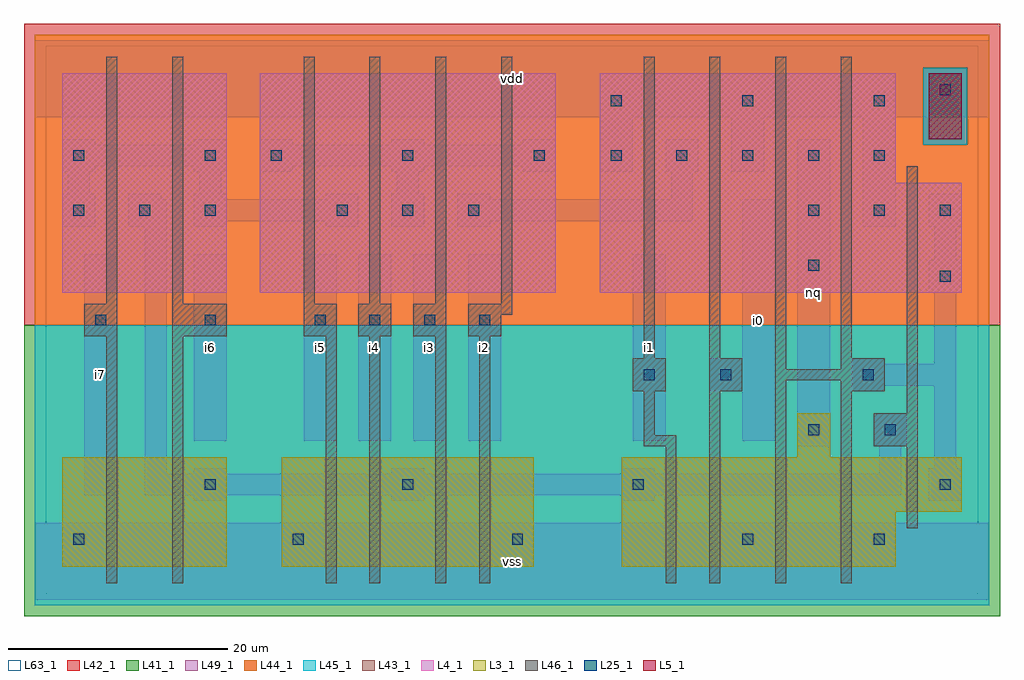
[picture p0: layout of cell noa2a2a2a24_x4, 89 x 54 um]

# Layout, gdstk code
import gdstk
lib = gdstk.Library(unit=1e-6, precision=1e-09)
def R(c, l, rs):  # rectangles x0, y0, x1, y1
    for r in rs: c.add(gdstk.rectangle(r[:2], r[2:], *l))
def A(c, l, x, y, w, h, nx, ny, dx, dy):  # array of equal rectangles
    R(c, l, [(x+i*dx, y+j*dy, x+i*dx+w, y+j*dy+h) for i in range(nx) for j in range(ny)])
L3_1 = (3, 1)
L4_1 = (4, 1)
L5_1 = (5, 1)
L25_1 = (25, 1)
L41_1 = (41, 1)
L42_1 = (42, 1)
L43_1 = (43, 1)
L44_1 = (44, 1)
L45_1 = (45, 1)
L46_1 = (46, 1)
L49_1 = (49, 1)
L63_1 = (63, 1)

noa2a2a2a24_x4 = lib.new_cell('noa2a2a2a24_x4')
R(noa2a2a2a24_x4, L3_1, [(1.5,2.5,16.5,12.5), (21.5,2.5,44.5,12.5), (52.5,2.5,77.5,7.5), (52.5,7.5,83.5,12.5), (68.5,12.5,71.5,16.5)])
R(noa2a2a2a24_x4, L4_1, [(1.5,27.5,16.5,47.5), (19.5,27.5,46.5,47.5), (50.5,27.5,83.5,37.5), (50.5,37.5,77.5,47.5)])
R(noa2a2a2a24_x4, L5_1, [(80.5,41.5,83.5,47.5)])
A(noa2a2a2a24_x4, L25_1, 2.5, 4.5, 1, 1, 3, 1, 20, 0)
A(noa2a2a2a24_x4, L25_1, 4.5, 24.5, 1, 1, 3, 1, 10, 0)
A(noa2a2a2a24_x4, L25_1, 29.5, 24.5, 1, 1, 3, 1, 5, 0)
A(noa2a2a2a24_x4, L25_1, 2.5, 34.5, 1, 1, 3, 1, 6, 0)
A(noa2a2a2a24_x4, L25_1, 26.5, 34.5, 1, 1, 3, 1, 6, 0)
A(noa2a2a2a24_x4, L25_1, 69.5, 34.5, 1, 1, 3, 1, 6, 0)
A(noa2a2a2a24_x4, L25_1, 20.5, 39.5, 1, 1, 3, 1, 12, 0)
A(noa2a2a2a24_x4, L25_1, 51.5, 39.5, 1, 1, 5, 1, 6, 0)
A(noa2a2a2a24_x4, L25_1, 51.5, 44.5, 1, 1, 3, 1, 12, 0)
R(noa2a2a2a24_x4, L25_1, [(63.5,4.5,64.5,5.5), (75.5,4.5,76.5,5.5), (14.5,9.5,15.5,10.5), (32.5,9.5,33.5,10.5), (53.5,9.5,54.5,10.5), (81.5,9.5,82.5,10.5), (69.5,14.5,70.5,15.5), (76.5,14.5,77.5,15.5), (54.5,19.5,55.5,20.5), (61.5,19.5,62.5,20.5), (74.5,19.5,75.5,20.5), (81.5,28.5,82.5,29.5), (69.5,29.5,70.5,30.5), (2.5,39.5,3.5,40.5), (14.5,39.5,15.5,40.5), (81.5,45.5,82.5,46.5)])
R(noa2a2a2a24_x4, L41_1, [(-2,-2,87,24.5)])
R(noa2a2a2a24_x4, L42_1, [(-2,24.5,87,52)])
R(noa2a2a2a24_x4, L43_1, [(1.5,2.5,16.5,12.5), (21.5,2.5,44.5,12.5), (52.5,2.5,77.5,7.5), (52.5,7.5,83.5,12.5), (68.5,12.5,71.5,16.5), (1.5,27.5,16.5,47.5), (19.5,27.5,46.5,47.5), (50.5,27.5,83.5,37.5), (50.5,37.5,77.5,47.5), (80.5,41.5,83.5,47.5)])
R(noa2a2a2a24_x4, L44_1, [(-1,24.5,86,41), (-1,41,80,48), (84,41,86,48), (-1,48,86,51)])
R(noa2a2a2a24_x4, L45_1, [(-1,-1,86,24.5), (80,41,84,48)])
A(noa2a2a2a24_x4, L46_1, 23.5, 23.5, 3, 3, 3, 1, 5, 0)
A(noa2a2a2a24_x4, L46_1, 23.5, 26.5, 1, 22.5, 4, 1, 6, 0)
R(noa2a2a2a24_x4, L46_1, [(5.5,1,6.5,23.5), (11.5,1,12.5,23.5), (25.5,1,26.5,23.5), (29.5,1,30.5,23.5), (35.5,1,36.5,23.5), (39.5,1,40.5,23.5), (56.5,1,57.5,13.5), (60.5,1,61.5,18.5), (66.5,1,67.5,19.5), (72.5,1,73.5,18.5), (78.5,6,79.5,13.5), (54.5,13.5,57.5,14.5), (75.5,13.5,79.5,16.5), (54.5,14.5,55.5,18.5), (78.5,16.5,79.5,39), (53.5,18.5,56.5,21.5), (60.5,18.5,63.5,21.5), (72.5,18.5,76.5,19.5), (66.5,19.5,76.5,20.5), (66.5,20.5,67.5,49), (72.5,20.5,76.5,21.5), (54.5,21.5,55.5,49), (60.5,21.5,61.5,49), (72.5,21.5,73.5,49), (3.5,23.5,6.5,26.5), (11.5,23.5,16.5,26.5), (38.5,23.5,41.5,25.5), (38.5,25.5,42.5,26.5), (5.5,26.5,6.5,49), (11.5,26.5,12.5,49)])
A(noa2a2a2a24_x4, L49_1, 23.5, 14, 3, 17, 4, 1, 5, 0)
A(noa2a2a2a24_x4, L49_1, 13.5, 33.5, 3, 0.5, 3, 2, 12, 2.5)
A(noa2a2a2a24_x4, L49_1, 19.5, 38.5, 3, 0.5, 3, 2, 12, 2.5)
R(noa2a2a2a24_x4, L49_1, [(-1,-0.5,86,6.5), (13.5,8.5,16.5,9), (31.5,8.5,34.5,9), (52.5,8.5,55.5,9), (80.5,8.5,83.5,11.5), (3.5,9,6.5,31), (9,9,78,11), (9,11,11,33.5), (13.5,11,16.5,11.5), (31.5,11,34.5,11.5), (52.5,11,55.5,11.5), (76,11,78,13.5), (81,11.5,83,19), (68.5,13.5,71.5,41.5), (75.5,13.5,78.5,16.5), (13.5,14,16.5,31), (53.5,14,56.5,31), (63.5,14,66.5,18.5), (60.5,18.5,66.5,21.5), (73.5,18.5,76.5,19), (73.5,19,83,21), (73.5,21,76.5,21.5), (81,21,83,27.5), (63.5,21.5,66.5,36), (80.5,27.5,83.5,30.5), (81,30.5,83,33.5), (1.5,33.5,4.5,36.5), (7.5,33.5,11,36), (31.5,33.5,34.5,36.5), (74.5,33.5,77.5,43.5), (80.5,33.5,83.5,36.5), (13.5,34,28.5,36), (37.5,34,59,36), (7.5,36,10.5,36.5), (57,36,59,38.5), (2,36.5,4,38.5), (14,36.5,16,38.5), (32,36.5,34,38.5), (1.5,38.5,4.5,39), (13.5,38.5,16.5,39), (50.5,38.5,53.5,43.5), (56.5,38.5,59.5,41.5), (62.5,38.5,65.5,43.5), (1.5,39,16.5,41), (19.5,39,46.5,41), (1.5,41,4.5,41.5), (13.5,41,16.5,41.5), (-1,43.5,86,50.5)])
R(noa2a2a2a24_x4, L63_1, [(0,0,85,50)])
noa2a2a2a24_x4.add(gdstk.Label('i7', (5,20), layer=49, texttype=1))
noa2a2a2a24_x4.add(gdstk.Label('i7', (5,20), layer=49, texttype=1))
noa2a2a2a24_x4.add(gdstk.Label('i6', (15,22.5), layer=49, texttype=1))
noa2a2a2a24_x4.add(gdstk.Label('i6', (15,22.5), layer=49, texttype=1))
noa2a2a2a24_x4.add(gdstk.Label('i4', (30,22.5), layer=49, texttype=1))
noa2a2a2a24_x4.add(gdstk.Label('i5', (25,22.5), layer=49, texttype=1))
noa2a2a2a24_x4.add(gdstk.Label('i4', (30,22.5), layer=49, texttype=1))
noa2a2a2a24_x4.add(gdstk.Label('i5', (25,22.5), layer=49, texttype=1))
noa2a2a2a24_x4.add(gdstk.Label('vss', (42.5,3), layer=49, texttype=1))
noa2a2a2a24_x4.add(gdstk.Label('vss', (42.5,3), layer=49, texttype=1))
noa2a2a2a24_x4.add(gdstk.Label('i3', (35,22.5), layer=49, texttype=1))
noa2a2a2a24_x4.add(gdstk.Label('i3', (35,22.5), layer=49, texttype=1))
noa2a2a2a24_x4.add(gdstk.Label('i2', (40,22.5), layer=49, texttype=1))
noa2a2a2a24_x4.add(gdstk.Label('i2', (40,22.5), layer=49, texttype=1))
noa2a2a2a24_x4.add(gdstk.Label('vdd', (42.5,47), layer=49, texttype=1))
noa2a2a2a24_x4.add(gdstk.Label('vdd', (42.5,47), layer=49, texttype=1))
noa2a2a2a24_x4.add(gdstk.Label('i0', (65,25), layer=49, texttype=1))
noa2a2a2a24_x4.add(gdstk.Label('i1', (55,22.5), layer=49, texttype=1))
noa2a2a2a24_x4.add(gdstk.Label('i1', (55,22.5), layer=49, texttype=1))
noa2a2a2a24_x4.add(gdstk.Label('i0', (65,25), layer=49, texttype=1))
noa2a2a2a24_x4.add(gdstk.Label('nq', (70,27.5), layer=49, texttype=1))
noa2a2a2a24_x4.add(gdstk.Label('nq', (70,27.5), layer=49, texttype=1))

lib.write_gds('noa2a2a2a24_x4.gds')
